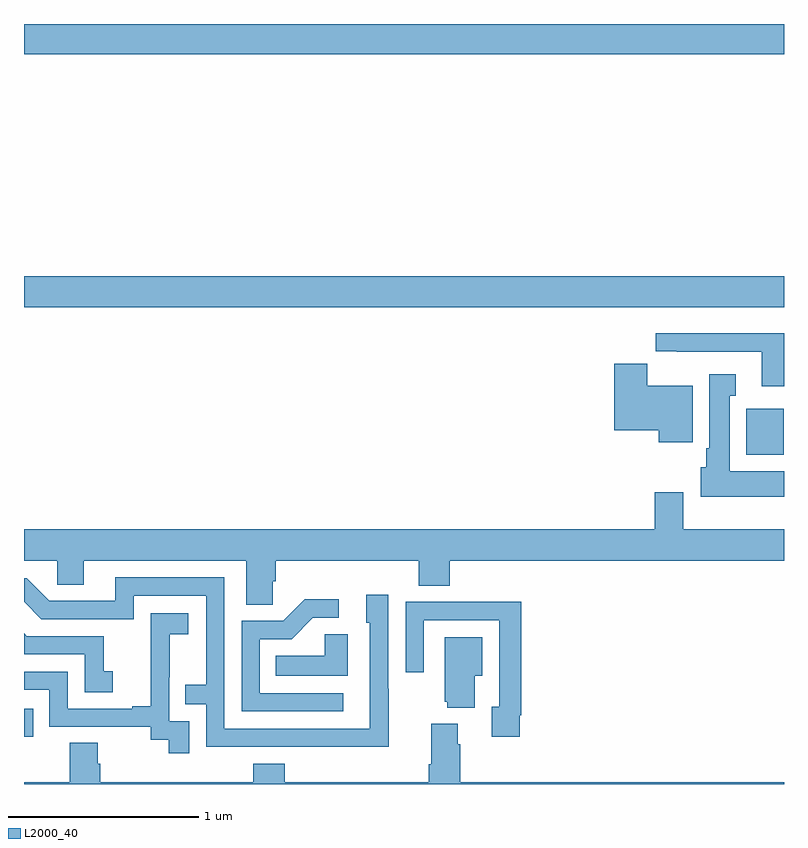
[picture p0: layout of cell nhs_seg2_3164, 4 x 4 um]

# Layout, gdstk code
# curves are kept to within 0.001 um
import gdstk
lib = gdstk.Library(unit=1e-6, precision=1e-09)
def R(c, l, rs):  # rectangles x0, y0, x1, y1
    for r in rs: c.add(gdstk.rectangle(r[:2], r[2:], *l))
def P(c, l, *ps):  # polygons
    for p in ps: c.add(gdstk.Polygon(p, *l))
L2000_40 = (2000, 40)

nhs_seg2_3164 = lib.new_cell('nhs_seg2_3164')
R(nhs_seg2_3164, L2000_40, [(277,640.05,277.049,640.197), (280.802,641.534,280.999,641.776), (277,642.308,281,642.472), (277,643.64,281,643.8)])
P(nhs_seg2_3164, L2000_40, [(281,642.172),(280.326,642.172),(280.326,642.077),(280.435,642.077),(280.435,642.075),(280.883,642.075),(280.883,641.894),(281,641.894)],
  [(280.519,641.896),(280.279,641.896),(280.279,642.012),(280.106,642.012),(280.106,641.663),(280.34,641.663),(280.34,641.6),(280.519,641.6)],
  [(281,641.446),(280.714,641.446),(280.714,641.843),(280.747,641.843),(280.747,641.956),(280.607,641.956),(280.607,641.566),(280.592,641.566),(280.592,641.466),(280.562,641.466),(280.562,641.312),(281,641.312)],
  [(278.31,640.867),(278.324,640.867),(278.324,640.976),(279.077,640.976),(279.077,640.843),(279.242,640.843),(279.242,640.976),(281,640.976),(281,641.14),(280.471,641.14),(280.471,641.335),(280.319,641.335),(280.319,641.14),(277,641.14),(277,640.976),(277.176,640.976),(277.176,640.849),(277.315,640.849),(277.315,640.976),(278.171,640.976),(278.171,640.744),(278.31,640.744)],
  [(278.919,640.301),(278.916,640.301),(278.916,640.795),(278.801,640.795),(278.801,640.65),(278.82,640.65),(278.82,640.092),(278.055,640.092),(278.055,640.887),(277.481,640.887),(277.481,640.764),(277.134,640.764),(277.014,640.884),(277,640.884),(277,640.76),(277.092,640.668),(277.578,640.668),(277.578,640.791),(277.959,640.791),(277.959,640.322),(277.849,640.322),(277.849,640.221),(277.959,640.221),(277.959,639.996),(278.919,639.995)],
  [(278.68,640.278),(278.241,640.278),(278.241,640.563),(278.41,640.563),(278.521,640.674),(278.656,640.674),(278.656,640.772),(278.477,640.772),(278.364,640.659),(278.145,640.659),(278.145,640.182),(278.68,640.182)],
  [(279.61,640.162),(279.617,640.162),(279.617,640.76),(279.325,640.76),(279.325,640.758),(279.009,640.758),(279.009,640.389),(279.105,640.389),(279.105,640.662),(279.501,640.662),(279.501,640.206),(279.461,640.206),(279.461,640.05),(279.61,640.05)],
  [(277.869,640.131),(277.764,640.131),(277.764,640.361),(277.766,640.361),(277.766,640.589),(277.864,640.589),(277.864,640.699),(277.666,640.699),(277.666,640.493),(277.667,640.493),(277.667,640.21),(277.571,640.21),(277.571,640.197),(277.23,640.197),(277.23,640.392),(277,640.392),(277,640.296),(277.134,640.296),(277.134,640.101),(277.668,640.101),(277.668,640.033),(277.761,640.033),(277.761,639.963),(277.869,639.963)],
  [(277.468,640.393),(277.419,640.393),(277.419,640.578),(277.015,640.578),(277,640.593),(277,640.482),(277.32,640.482),(277.32,640.284),(277.468,640.284)],
  [(278.704,640.589),(278.583,640.589),(278.583,640.474),(278.326,640.474),(278.326,640.37),(278.704,640.37)],
  [(279.373,640.37),(279.412,640.37),(279.412,640.573),(279.215,640.573),(279.215,640.233),(279.227,640.233),(279.227,640.202),(279.373,640.202)],
  [(281,639.808),(279.296,639.808),(279.296,640.01),(279.283,640.01),(279.283,640.117),(279.143,640.117),(279.143,639.904),(279.131,639.904),(279.131,639.808),(278.372,639.808),(278.372,639.907),(278.207,639.907),(278.207,639.808),(277.4,639.808),(277.4,639.906),(277.387,639.906),(277.387,640.016),(277.24,640.016),(277.24,639.808),(277,639.808),(277,639.8),(281,639.8)])

lib.write_gds('nhs_seg2_3164.gds')
